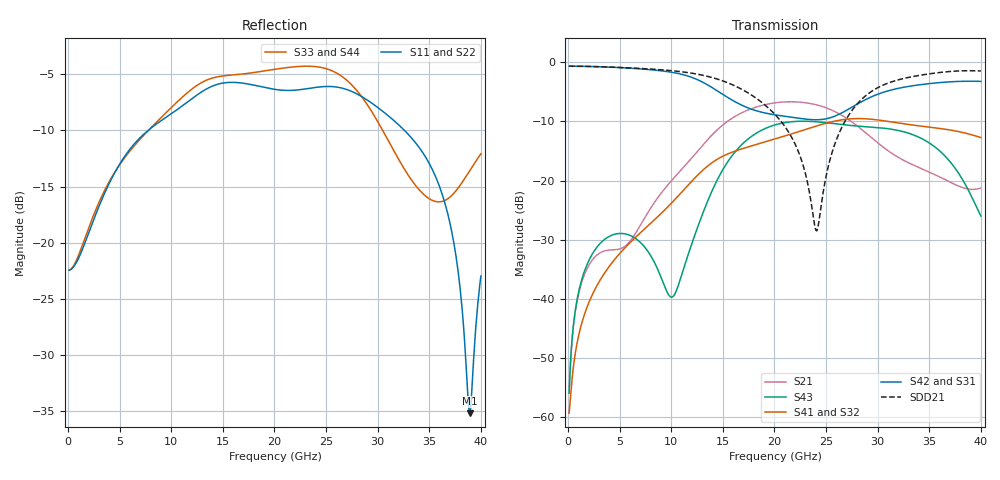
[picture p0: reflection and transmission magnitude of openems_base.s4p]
! E_s8_L1L3_p800_round_g2: pair L1→L3, pitch 0.8 mm, two round antipads, 2 GND vias
! stackup: 8-layer 1.6 mm FR-4 (generic)
! ports: 1 P near, 2 N near, 3 P far, 4 N far
! openEMS 0.37.0, staircase, base mesh (dfine 0.035 mm), 737685 cells
# Hz S RI R 50
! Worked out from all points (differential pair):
!   400 points, 100 MHz to 40 GHz, reference 50 ohm
!   strongest paths, dB at 100 MHz, 10.1 GHz, 20.1 GHz, 30.1 GHz, 40 GHz:
!     S42: -0.7, -1.7, -8.9, -5.4, -3.2
!     S31: -0.7, -1.7, -8.9, -5.4, -3.2
!     S41: -59.3, -23.7, -13.0, -9.8, -12.8
!     S32: -59.3, -23.7, -13.0, -9.8, -12.8
!     S43: -55.9, -39.7, -10.6, -11.1, -26.0
!     S21: -56.0, -19.9, -6.9, -13.8, -21.3
!   taken as a pair (ports 2,1 in; 4,3 out), SDD21 dB: -0.7, -1.5, -8.9, -4.2, -1.5
!   lowest |S11| = -35.2 dB at 38.9 GHz (marker M1), VSWR 1.04, Z = 51.7 - j0.433 ohm
!   |S11| at or under -10 dB: start of sweep to 7.749 GHz; 32.6 GHz to end of sweep
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1e8  -0.0754 -0.00168  0.00117 0.00108  0.9238 -0.0351  0.000936 -0.000531
     0.00117 0.00108  -0.0754 -0.00168  0.000936 -0.000531  0.9238 -0.0351
     0.9238 -0.0351  0.000939 -0.000532  -0.0754 -0.00168  0.00117 0.00111
     0.000939 -0.000532  0.9238 -0.0351  0.00117 0.00111  -0.0754 -0.00168
8e9  -0.0151 0.3228  0.057 -0.0125  -0.8591 -0.0802  0.00622 0.043
     0.057 -0.0125  -0.0151 0.3228  0.00622 0.043  -0.8591 -0.0802
     -0.8594 -0.0782  0.00634 0.043  -0.0104 0.324  -0.00674 -0.0222
     0.00634 0.043  -0.8594 -0.0782  -0.00674 -0.0222  -0.0104 0.324
1.47e10  0.0993 -0.5013  -0.2747 -0.0569  0.4556 0.3176  -0.1116 -0.1088
         -0.2747 -0.0569  0.0993 -0.5013  -0.1116 -0.1088  0.4556 0.3176
         0.4565 0.3146  -0.1123 -0.1076  0.2004 -0.5131  -0.1076 -0.0279
         -0.1123 -0.1076  0.4565 0.3146  -0.1076 -0.0279  0.2004 -0.5131
2.3e10  -0.1179 0.4697  0.2929 -0.3471  -0.0222 -0.3289  0.0688 -0.2602
        0.2929 -0.3471  -0.1179 0.4697  0.0688 -0.2602  -0.0222 -0.3289
        -0.0248 -0.3294  0.0672 -0.2618  -0.0277 0.611  0.1551 -0.2763
        0.0672 -0.2618  -0.0248 -0.3294  0.1551 -0.2763  -0.0277 0.611
2.95e10  0.2206 -0.3532  -0.1321 0.1838  -0.4994 0.1274  0.0415 0.3269
         -0.1321 0.1838  0.2206 -0.3532  0.0415 0.3269  -0.4994 0.1274
         -0.4968 0.1317  0.0427 0.3258  0.2293 -0.3016  -0.0328 0.2802
         0.0427 0.3258  -0.4968 0.1317  -0.0328 0.2802  0.2293 -0.3016
3.89e10  0.0169 -0.00418  -0.0713 -0.0453  0.5427 -0.4261  -0.2339 -0.0816
         -0.0713 -0.0453  0.0169 -0.00418  -0.2339 -0.0816  0.5427 -0.4261
         0.5399 -0.4293  -0.232 -0.0825  -0.1633 0.1299  -0.0718 -0.0336
         -0.232 -0.0825  0.5399 -0.4293  -0.0718 -0.0336  -0.1633 0.1299
4e10  -0.0362 -0.0612  -0.0845 0.0176  0.3258 -0.604  -0.2293 0.0304
      -0.0845 0.0176  -0.0362 -0.0612  -0.2293 0.0304  0.3258 -0.604
      0.3218 -0.6079  -0.2285 0.0291  -0.1526 0.1968  -0.0472 0.0166
      -0.2285 0.0291  0.3218 -0.6079  -0.0472 0.0166  -0.1526 0.1968
